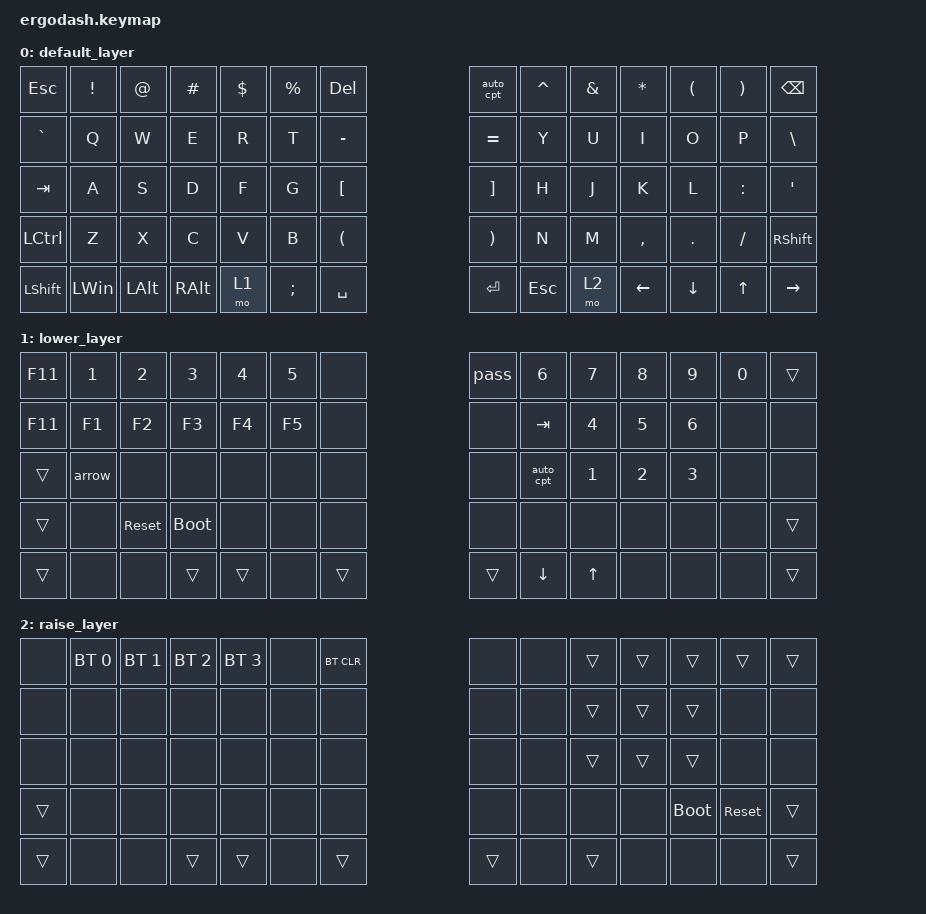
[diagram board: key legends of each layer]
/*
 * Copyright (c) 2020 The ZMK Contributors
 *
 * SPDX-License-Identifier: MIT
 */

#include <behaviors.dtsi>
#include <dt-bindings/zmk/bt.h>
#include <dt-bindings/zmk/keys.h>

#define DEFAULT 0
#define LOWER   1
#define RAISE   2

/ {
    macros {
        arrow: arrow {
            compatible = "zmk,behavior-macro";
            #binding-cells = <0>;
            bindings = <&kp KP_MINUS &kp GREATER_THAN>;
            label = "ARROW";
        };

        ci: ci {
            compatible = "zmk,behavior-macro";
            #binding-cells = <0>;
            bindings = <&kp ESCAPE &kp C &kp I>;
            label = "CI";
        };

        auto_cpt: auto_cpt {
            compatible = "zmk,behavior-macro";
            #binding-cells = <0>;
            bindings = <&kp LEFT_CONTROL &kp SPACE>;
            label = "AUTO_CPT";
        };

        pass: pass {
            compatible = "zmk,behavior-macro";
            #binding-cells = <0>;
            bindings = <&kp B &kp N7 &kp G &kp W &kp R &kp U &kp LS(Z) &kp N1 &kp DQT>;
            label = "PASS";
        };
    };

    keymap {
        compatible = "zmk,keymap";

        default_layer {
            /* QWERTY
 * .----------------------------------------------------------------------------------------------------------------------.
 * |  `   |   1  |   2  |   3  |   4  |   5  |  [   |                    |  ]   |   6  |   7  |   8  |   9  |   0  | PScr |
 * |------+------+------+------+------+------+------+--------------------+------+------+------+------+------+------+------|
 * | ESC  |   Q  |   W  |   E  |   R  |   T  |  -   |                    |  =   |   Y  |   U  |   I  |   O  |   P  |  \   |
 * |------+------+------+------+------+------+------+--------------------+------+------+------+------+------+------+------|
 * | Tab  |   A  |   S  |   D  |   F  |   G  | Del  |                    | Bksp |   H  |   J  |   K  |   L  |   ;  |  '   |
 * |------+------+------+------+------+------+---------------------------+------+------+------+------+------+------+------|
 * | Shift|   Z  |   X  |   C  |   V  |   B  | End  |                    | Home |   N  |   M  |   ,  |   .  |   /  | Shift|
 * |-------------+------+------+------+------+------+------+------+------+------+------+------+------+------+-------------|
 * | Ctrl |      | PGDN | Win  |||||||| Alt  | Space| Lower|||||||| Raise| Enter| RAlt ||||||||      | PGUP | Ins  | RCtrl|
 * .----------------------------------------------------------------------------------------------------------------------.
 */

            bindings = <
&kp ESCAPE        &kp EXCLAMATION  &kp AT        &kp HASH       &kp DOLLAR  &kp PERCENT  &kp DELETE                                                     &auto_cpt          &kp CARET  &kp AMPERSAND  &kp ASTERISK    &kp LEFT_PARENTHESIS  &kp RIGHT_PARENTHESIS  &kp BACKSPACE
&kp GRAVE         &kp Q            &kp W         &kp E          &kp R       &kp T        &kp MINUS                                                      &kp EQUAL          &kp Y      &kp U          &kp I           &kp O                 &kp P                  &kp BSLH
&kp TAB           &kp A            &kp S         &kp D          &kp F       &kp G        &kp LEFT_BRACKET                                               &kp RIGHT_BRACKET  &kp H      &kp J          &kp K           &kp L                 &kp COLON              &kp SQT
&kp LEFT_CONTROL  &kp Z            &kp X         &kp C          &kp V       &kp B                          &kp LEFT_PARENTHESIS  &kp RIGHT_PARENTHESIS                     &kp N      &kp M          &kp COMMA       &kp DOT               &kp SLASH              &kp RSHFT
&kp LEFT_SHIFT    &kp LEFT_WIN     &kp LEFT_ALT  &kp RIGHT_ALT  &mo 1                    &kp SEMI          &kp SPACE             &kp ENTER              &kp ESCAPE                    &mo 2          &kp LEFT_ARROW  &kp DOWN_ARROW        &kp UP_ARROW           &kp RIGHT_ARROW
            >;
        };

        lower_layer {
            /* .----------------------------------------------------------------------------------------------------------------------.
 * |  F11 |  F1  |  F2  |  F3  |  F4  |  F5  |      |                    |      |  F6  |  F7  |  F8  |  F9  |  F10 |  F12 |
 * |------+------+------+------+------+------+------+--------------------+------+------+------+------+------+------+------|
 * |      |      |      |      |      |      |      |                    |      |      |      |      |      |      |      |
 * |------+------+------+------+------+------+------+--------------------+------+------+------+------+------+------+------|
 * |      |      |      |      |      |      |      |                    |      |      |      |      |      |      |      |
 * |------+------+------+------+------+------+---------------------------+------+------+------+------+------+------+------|
 * | Shift| Boot | Reset|      |      |      |      |                    |      |      |      |      |      |      | Shift|
 * |-------------+------+------+------+------+------+------+------+------+------+------+------+------+------+-------------|
 * | Ctlr |      |      |  Win |||||||| Alt  |      | Lower|||||||| Raise|      | RAlt ||||||||      |      |      | RCtrl|
 * .----------------------------------------------------------------------------------------------------------------------.
 */ /* FIXME boot and reset are not yet locale aware */
            bindings = <
&kp F11  &kp NUMBER_1  &kp NUMBER_2  &kp NUMBER_3  &kp NUMBER_4  &kp N5  &none                  &pass           &kp NUMBER_6  &kp NUMBER_7  &kp NUMBER_8  &kp NUMBER_9  &kp NUMBER_0  &trans
&kp F11  &kp F1        &kp F2        &kp F3        &kp F4        &kp F5  &none                  &none           &kp TAB       &kp NUMBER_4  &kp NUMBER_5  &kp NUMBER_6  &none         &none
&trans   &arrow        &none         &none         &none         &none   &none                  &none           &auto_cpt     &kp NUMBER_1  &kp NUMBER_2  &kp NUMBER_3  &none         &none
&trans   &none         &sys_reset    &bootloader   &none         &none          &none   &none                   &none         &none         &none         &none         &none         &trans
&trans   &none         &none         &trans        &trans                &none  &trans  &trans  &kp DOWN_ARROW                &kp UP_ARROW  &none         &none         &none         &trans
            >;
        };

        raise_layer {
            /* .----------------------------------------------------------------------------------------------------------------------.
 * |      | BT 0 | BT 1 | BT 2 | BT 3 |      | BTCL |                    |      |      |      |      |      |      |      |
 * |------+------+------+------+------+------+------+--------------------+------+------+------+------+------+------+------|
 * |      |      |      |      |      |      |      |                    |      |      |      |      |      |      |      |
 * |------+------+------+------+------+------+------+--------------------+------+------+------+------+------+------+------|
 * |      |      |      |      |      |      |      |                    |      |      |      |      |      |      |      |
 * |------+------+------+------+------+------+---------------------------+------+------+------+------+------+------+------|
 * | Shift|      |      |      |      |      |      |                    |      |      |      |      | Boot | Reset| Shift|
 * |-------------+------+------+------+------+------+------+------+------+------+------+------+------+------+-------------|
 * | Ctlr |      |      |  Win |||||||| Alt  |      | Lower|||||||| Raise|      | RAlt ||||||||      |      |      | RCtrl|
 * .----------------------------------------------------------------------------------------------------------------------.
 */ /* FIXME boot and reset are not yet locale aware */
            bindings = <
&none   &bt BT_SEL 0  &bt BT_SEL 1  &bt BT_SEL 2  &bt BT_SEL 3  &none  &bt BT_CLR                  &none  &none  &trans  &trans  &trans       &trans      &trans
&none   &none         &none         &none         &none         &none  &none                       &none  &none  &trans  &trans  &trans       &none       &none
&none   &none         &none         &none         &none         &none  &none                       &none  &none  &trans  &trans  &trans       &none       &none
&trans  &none         &none         &none         &none         &none              &none   &none          &none  &none   &none   &bootloader  &sys_reset  &trans
&trans  &none         &none         &trans        &trans               &none       &trans  &trans  &none         &trans  &none   &none        &none       &trans
            >;
        };
    };
};
